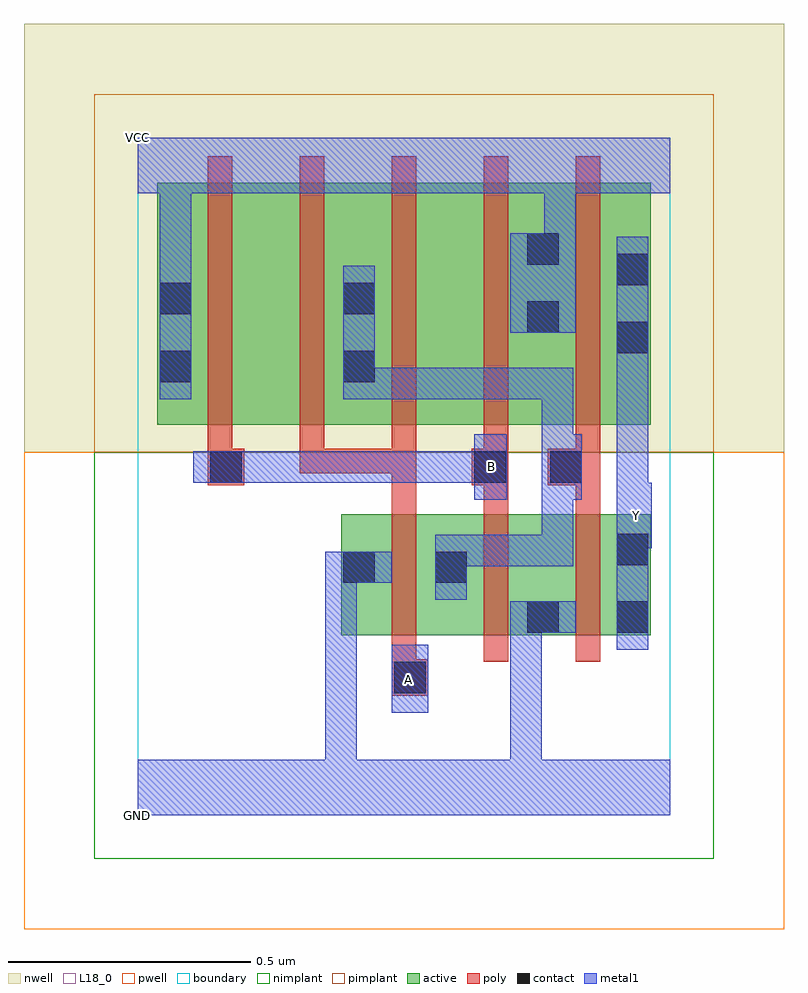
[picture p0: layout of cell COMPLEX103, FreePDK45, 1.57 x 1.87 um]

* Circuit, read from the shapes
.subckt COMPLEX103 A B GND VCC Y
M1 n1 A GND VSUBS nfet w=0.25u l=0.05u
M2 GND B n1 VSUBS nfet w=0.25u l=0.05u
M3 Y n1 GND VSUBS nfet w=0.25u l=0.05u
M4 n2 B VCC n3 pfet w=0.5u l=0.05u
M5 n1 A n2 n3 pfet w=0.5u l=0.05u
M6 n4 A n1 n3 pfet w=0.5u l=0.05u
M7 VCC B n4 n3 pfet w=0.5u l=0.05u
M8 Y n1 VCC n3 pfet w=0.5u l=0.05u
.ends

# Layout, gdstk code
import gdstk
lib = gdstk.Library(unit=1e-6, precision=1e-09)
def R(c, l, rs):  # rectangles x0, y0, x1, y1
    for r in rs: c.add(gdstk.rectangle(r[:2], r[2:], *l))
def A(c, l, x, y, w, h, nx, ny, dx, dy):  # array of equal rectangles
    R(c, l, [(x+i*dx, y+j*dy, x+i*dx+w, y+j*dy+h) for i in range(nx) for j in range(ny)])
active = (1, 0)
pwell = (2, 0)
nwell = (3, 0)
nimplant = (4, 0)
pimplant = (5, 0)
poly = (9, 0)
contact = (10, 0)
metal1 = (11, 0)
L18_0 = (18, 0)
boundary = (235, 0)

complex103 = lib.new_cell('COMPLEX103')
R(complex103, active, [(0.42,0.372,0.495,0.622), (0.42,0.372,0.685,0.622), (0.61,0.372,0.875,0.622), (0.61,0.372,0.685,0.55), (0.8,0.372,1.06,0.622), (0.8,0.372,0.875,0.497), (0.985,0.372,1.06,0.622), (0.04,0.807,0.115,1.305), (0.04,0.807,0.265,1.307), (0.265,0.807,0.495,1.307), (0.42,0.807,0.495,1.2), (0.42,0.807,0.645,1.307), (0.645,0.807,0.875,1.307), (0.8,0.807,1.06,1.307), (0.8,0.807,0.875,1.305), (0.985,0.807,1.06,1.2)])
R(complex103, pwell, [(-0.235,-0.235,1.335,0.75)])
R(complex103, nwell, [(-0.235,0.75,1.335,1.635)])
R(complex103, nimplant, [(-0.09,-0.09,1.19,0.75)])
R(complex103, pimplant, [(-0.09,0.75,1.19,1.49)])
A(complex103, poly, 0.525, 0.317, 0.05, 0.36, 3, 1, 0.19, 0)
A(complex103, poly, 0.145, 0.707, 0.05, 0.095, 5, 1, 0.19, 0)
A(complex103, poly, 0.145, 0.752, 0.05, 0.61, 5, 1, 0.19, 0)
R(complex103, poly, [(0.525,0.247,0.6,0.322), (0.525,0.272,0.575,0.367), (0.525,0.627,0.575,0.757), (0.715,0.627,0.765,0.732), (0.905,0.627,0.955,0.732), (0.145,0.682,0.22,0.757), (0.69,0.682,0.765,0.757), (0.847,0.682,0.955,0.757), (0.335,0.707,0.575,0.757), (0.335,0.707,0.385,0.757), (0.335,0.707,0.385,0.757), (0.335,0.707,0.385,0.757), (0.525,0.707,0.575,0.757)])
R(complex103, contact, [(0.53,0.252,0.595,0.317), (0.805,0.377,0.87,0.442), (0.99,0.377,1.055,0.442), (0.425,0.48,0.49,0.545), (0.615,0.48,0.68,0.545), (0.99,0.517,1.055,0.582), (0.15,0.687,0.215,0.752), (0.695,0.687,0.76,0.752), (0.852,0.687,0.917,0.752), (0.045,0.895,0.11,0.96), (0.425,0.895,0.49,0.96), (0.99,0.955,1.055,1.02), (0.805,0.997,0.87,1.062), (0.045,1.035,0.11,1.1), (0.425,1.035,0.49,1.1), (0.99,1.095,1.055,1.16), (0.805,1.137,0.87,1.202)])
R(complex103, metal1, [(0,0,1.1,0.115), (0.387,0.05,0.452,0.115), (0.387,0.05,0.452,0.115), (0.387,0.05,0.452,0.115), (0.387,0.05,0.452,0.115), (0.387,0.05,0.452,0.115), (0.387,0.05,0.452,0.115), (0.387,0.05,0.452,0.545), (0.77,0.05,0.835,0.115), (0.77,0.05,0.835,0.115), (0.77,0.05,0.835,0.442), (0.525,0.212,0.6,0.352), (0.99,0.342,1.055,0.617), (0.77,0.377,0.835,0.442), (0.77,0.377,0.835,0.442), (0.77,0.377,0.835,0.442), (0.77,0.377,0.835,0.442), (0.77,0.377,0.905,0.442), (0.615,0.445,0.68,0.58), (0.387,0.48,0.525,0.545), (0.615,0.515,0.68,0.58), (0.615,0.515,0.68,0.58), (0.615,0.515,0.9,0.58), (0.835,0.515,0.9,0.58), (0.835,0.515,0.9,0.787), (0.99,0.552,1.055,0.617), (0.99,0.552,1.062,0.687), (0.99,0.622,1.055,0.985), (0.695,0.652,0.762,0.787), (0.852,0.652,0.917,0.787), (0.115,0.687,0.25,0.752), (0.185,0.687,0.25,0.752), (0.185,0.687,0.25,0.752), (0.185,0.687,0.387,0.752), (0.322,0.687,0.387,0.752), (0.322,0.687,0.525,0.752), (0.46,0.687,0.525,0.752), (0.46,0.687,0.525,0.752), (0.46,0.687,0.525,0.752), (0.46,0.687,0.697,0.752), (0.632,0.687,0.697,0.752), (0.632,0.687,0.76,0.752), (0.835,0.722,0.9,0.787), (0.835,0.722,0.917,0.787), (0.835,0.722,0.9,0.925), (0.045,0.86,0.11,1.135), (0.425,0.86,0.49,1.135), (0.425,0.86,0.525,0.925), (0.46,0.86,0.525,0.925), (0.46,0.86,0.662,0.925), (0.597,0.86,0.662,0.925), (0.597,0.86,0.662,0.925), (0.597,0.86,0.662,0.925), (0.597,0.86,0.9,0.925), (0.835,0.86,0.9,0.925), (0.99,0.92,1.055,1.195), (0.77,0.997,0.905,1.202), (0.045,1.07,0.11,1.35), (0.84,1.137,0.905,1.35), (0,1.285,1.1,1.4)])
R(complex103, L18_0, [(0,0,1.1,0.115), (0.387,0.05,0.452,0.115), (0.387,0.05,0.452,0.115), (0.387,0.05,0.452,0.115), (0.387,0.05,0.452,0.115), (0.387,0.05,0.452,0.115), (0.387,0.05,0.452,0.115), (0.387,0.05,0.452,0.545), (0.77,0.05,0.835,0.115), (0.77,0.05,0.835,0.115), (0.77,0.05,0.835,0.442), (0.525,0.212,0.6,0.352), (0.527,0.247,0.592,0.312), (0.99,0.342,1.055,0.617), (0.77,0.377,0.905,0.442), (0.77,0.377,0.835,0.442), (0.77,0.377,0.835,0.442), (0.77,0.377,0.835,0.442), (0.77,0.377,0.835,0.442), (0.387,0.48,0.525,0.545), (0.99,0.552,1.055,0.617), (0.99,0.552,1.062,0.687), (0.997,0.587,1.062,0.652), (0.99,0.622,1.055,0.985), (0.695,0.652,0.762,0.787), (0.115,0.687,0.25,0.752), (0.185,0.687,0.25,0.752), (0.185,0.687,0.25,0.752), (0.185,0.687,0.387,0.752), (0.322,0.687,0.387,0.752), (0.322,0.687,0.525,0.752), (0.46,0.687,0.525,0.752), (0.46,0.687,0.525,0.752), (0.46,0.687,0.525,0.752), (0.46,0.687,0.697,0.752), (0.632,0.687,0.697,0.752), (0.632,0.687,0.76,0.752), (0.697,0.687,0.762,0.752), (0.045,0.86,0.11,1.135), (0.99,0.92,1.055,1.195), (0.77,0.997,0.905,1.202), (0.045,1.07,0.11,1.35), (0.84,1.137,0.905,1.35), (0,1.285,1.1,1.4)])
R(complex103, boundary, [(0,0,1.1,1.4)])
complex103.add(gdstk.Label('A', (0.56,0.28), layer=11, texttype=0))
complex103.add(gdstk.Label('B', (0.73,0.72), layer=11, texttype=0))
complex103.add(gdstk.Label('Y', (1.03,0.62), layer=11, texttype=0))
complex103.add(gdstk.Label('VCC', (0,1.4), layer=11, texttype=0))
complex103.add(gdstk.Label('GND', (0,0), layer=11, texttype=0))

lib.write_gds('COMPLEX103.gds')
